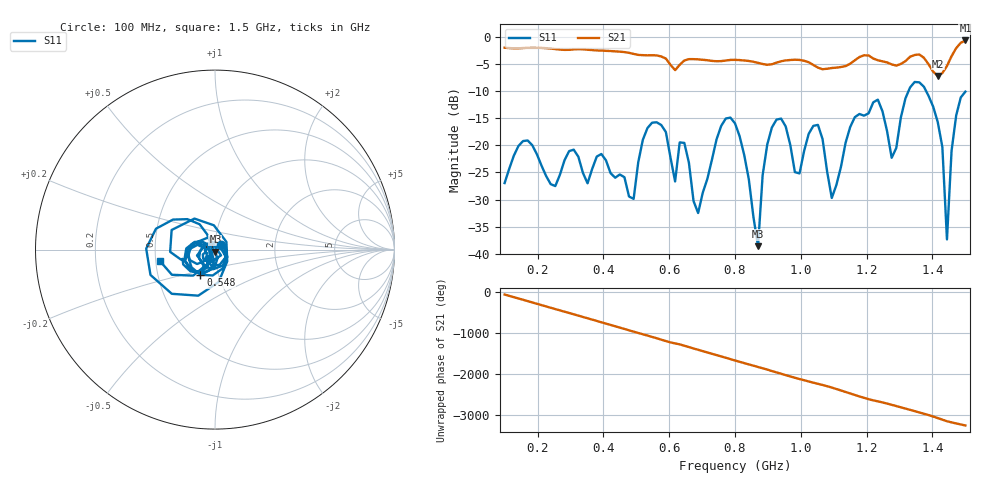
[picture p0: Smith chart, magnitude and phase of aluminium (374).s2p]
! NanoVNA-App
! Date: 2025-09-25 14:58:11
! Start: 100MHz Stop: 1,5GHz Points: 101
! S-Parameter data: F S11 S21 S12 S22
# Hz S RI R 50
!  Frequency  S11_Real  S11_Imag  S21_Real  S21_Imag  S12_Real  S12_Imag  S22_Real  S22_Imag
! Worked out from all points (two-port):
!   101 points, 100 MHz to 1.5 GHz, reference 50 ohm
!   highest |S21| = -0.58 dB at 1.5 GHz (marker M1); lowest = -7.1 dB at 1.416 GHz (marker M2)
!   |S21| within 3 dB of the highest: start of sweep to 577.3 MHz; 1.457 GHz to end of sweep (the widest 2 of 4)
!   lowest |S11| = -38.6 dB at 870 MHz (marker M3), VSWR 1.02, Z = 50.2 - j1.16 ohm
!   |S11| at or under -10 dB: start of sweep to 1.327 GHz; 1.381 GHz to end of sweep
!   S12 and S22 are empty: the file has one direction only
!   S11 on the Smith chart (normalised r, x): 100 MHz: 1.07, +0.06; 548 MHz: 0.82, -0.24; 1.5 GHz: 0.53, -0.07
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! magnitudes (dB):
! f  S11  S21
! 100 MHz  -27.0  -1.9
! 156 MHz  -19.2  -2.0
! 338 MHz  -25.1  -2.2
! 492 MHz  -29.9  -3.1
! 548 MHz  -15.8  -3.3
! 576 MHz  -16.2  -3.5
! 618 MHz  -26.7  -6.1
! 646 MHz  -19.5  -4.3
! 688 MHz  -32.5  -4.1
! 800 MHz  -15.9  -4.2
! 870 MHz  -38.6  -4.7
! 912 MHz  -16.7  -5.0
! 996 MHz  -25.2  -4.2
! 1.038 GHz  -16.4  -5.1
! 1.094 GHz  -29.7  -5.7
! 1.22 GHz  -12.0  -3.9
! 1.276 GHz  -22.3  -5.0
! 1.346 GHz  -8.3  -3.3
! 1.416 GHz  -15.7  -7.1
! 1.444 GHz  -37.4  -5.3
! 1.458 GHz  -21.0  -3.5
! 1.5 GHz  -10.0  -0.6
